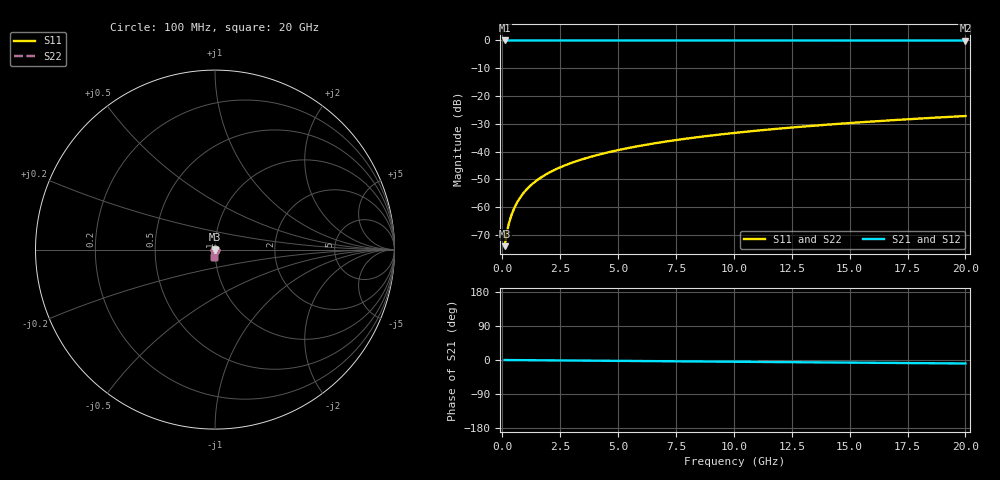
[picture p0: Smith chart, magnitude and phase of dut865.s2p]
! Touchstone file exported from HFSS 2026.1.0
!  File:  C:/ffzhzh/LocalFiles/Ansys_Project_Files/temp_train_TSV_865_1783185444_43440.aedt
!  Generated:  01:18:39 AM Jul  5, 2026
!  Design:  TSV
!  Project:  temp_train_TSV_865_1783185444_43440
! Variables:
!  h_bsmrdl = 2um
!  h_ox = 20um
!  h_rdl = 5um
!  h_sub = 92.73um
!  h_tmrdl = 5um
!  h_tsv = 92.73um
!  h_via = 3um
!  l_bsmrdl = 300um
!  l_sub = 425.1um
!  l_tmrdl = 200um
!  m_sub = 200um
!  pitch = 39.27um
!  r_tsv = 12.55um
!  s_tmrdl = 10um
!  w_bsmrdl = 18um
!  w_sub = 500um
!  w_tmrdl = 12um
!  x_tsv_center1 = 206um
!  x_tsv_center2 = 524um
!  x_tsv_center3 = 736um
!  x_tsv_center4 = 1054um
!  x_tsv_center5 = 1266um
!  x_tsv_center6 = 1584um
# GHz S MA R 50.000000
! Terminal data exported
! Port[1] = TSV1_1_T1
! Port[2] = TSV1_1_T2
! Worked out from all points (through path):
!   200 points, 100 MHz to 20 GHz, reference 50 ohm
!   highest |S21| = 0.00 dB at 100 MHz (marker M1); lowest = 0.0 dB at 20 GHz (marker M2)
!   group delay of S21, straight-line fit = 1.27 ps
!   lowest |S11| = -74.1 dB at 100 MHz (marker M3), VSWR 1.00, Z = 50 - j0.0167 ohm
!   |S11| at or under -10 dB: start of sweep to end of sweep
!   |S22| runs from -74.1 to -27.2 dB; largest |S21 - S12| = 6.3e-15
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0.1  0.0001982 -57.4  0.9999 -0.0  0.9999 -0.0  0.0001982 -57.4
! Gamma 0 0 0 0
! Port Impedance 50 0 50 0
0.2  0.0003601 -70.0  0.9999 -0.1  0.9999 -0.1  0.0003601 -70.0
0.3  0.0005378 -74.2  0.9999 -0.1  0.9999 -0.1  0.0005378 -74.2
0.4  0.0007262 -76.1  0.9998 -0.2  0.9998 -0.2  0.0007262 -76.1
0.5  0.000923 -77.3  0.9998 -0.2  0.9998 -0.2  0.000923 -77.3
0.7  0.001334 -79.1  0.9997 -0.3  0.9997 -0.3  0.001334 -79.1
0.8  0.001545 -79.8  0.9997 -0.4  0.9997 -0.4  0.001545 -79.8
1  0.001972 -81.0  0.9997 -0.5  0.9997 -0.5  0.001972 -81.0
1.2  0.002402 -82.1  0.9996 -0.6  0.9996 -0.6  0.002402 -82.1
1.4  0.002833 -83.0  0.9996 -0.7  0.9996 -0.7  0.002833 -83.0
1.7  0.00348 -84.0  0.9996 -0.8  0.9996 -0.8  0.00348 -84.0
2  0.004126 -84.8  0.9996 -0.9  0.9996 -0.9  0.004126 -84.8
2.7  0.005634 -86.2  0.9995 -1.3  0.9995 -1.3  0.005634 -86.2
3.5  0.007362 -87.3  0.9994 -1.6  0.9994 -1.6  0.007362 -87.3
4.2  0.00888 -88.0  0.9994 -1.9  0.9994 -1.9  0.00888 -88.0
5  0.01062 -88.7  0.9993 -2.3  0.9993 -2.3  0.01062 -88.7
6.8  0.01456 -90.0  0.9991 -3.1  0.9991 -3.1  0.01456 -90.0
8.3  0.01786 -91.0  0.999 -3.8  0.999 -3.8  0.01786 -91.0
10.1  0.02183 -92.1  0.9988 -4.6  0.9988 -4.6  0.02183 -92.1
13.4  0.0291 -94.0  0.9985 -6.2  0.9985 -6.2  0.0291 -94.0
16.7  0.03637 -95.7  0.9981 -7.7  0.9981 -7.7  0.03637 -95.7
20  0.04364 -97.4  0.9977 -9.2  0.9977 -9.2  0.04364 -97.4
